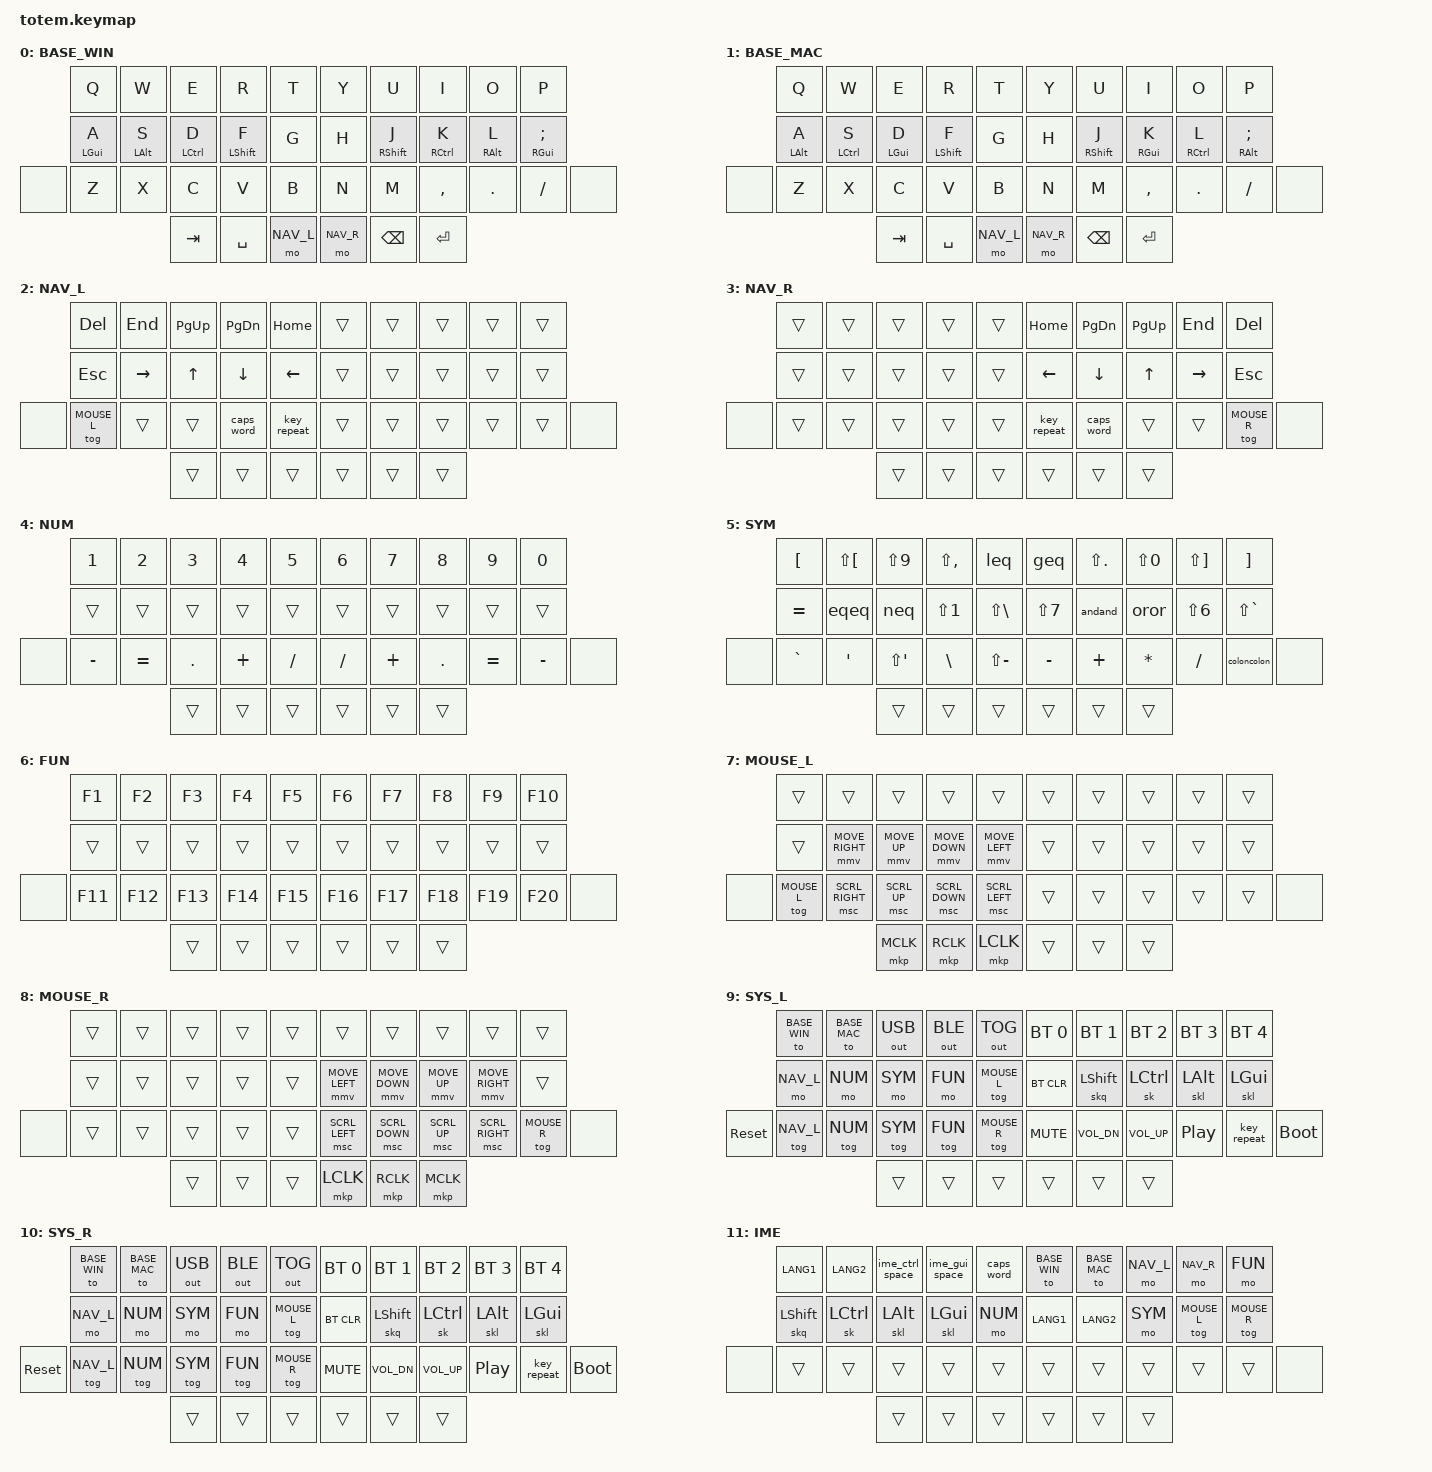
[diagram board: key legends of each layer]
#include <behaviors.dtsi>
#include <dt-bindings/zmk/bt.h>
#include <dt-bindings/zmk/keys.h>
#include <dt-bindings/zmk/outputs.h>
#include <dt-bindings/zmk/pointing.h>

#define BASE_WIN 0
#define BASE_MAC 1
#define NAV_L    2
#define NAV_R    3
#define NUM      4
#define SYM      5
#define FUN      6
#define MOUSE_L  7
#define MOUSE_R  8
#define SYS_L    9
#define SYS_R    10
#define IME      11

/ {
    behaviors {
        /*
         * Positional / bilateral home-row mods.
         *
         * Totem matrix positions from the existing file:
         *   left hand:  top 0-4,  home 10-14, bottom 21-25, thumbs 32-34
         *   right hand: top 5-9,  home 15-19, bottom 26-30, thumbs 35-37
         *
         * Ignored outer pinky keys are positions 20 and 31.
         */
        hml: home_row_mod_left {
            compatible = "zmk,behavior-hold-tap";
            #binding-cells = <2>;
            flavor = "balanced";
            tapping-term-ms = <280>;
            quick-tap-ms = <175>;
            require-prior-idle-ms = <150>;
            bindings = <&kp>, <&kp>;
            hold-trigger-key-positions = <5 6 7 8 9 15 16 17 18 19 26 27 28 29 30 35 36 37>;
            hold-trigger-on-release;
        };

        hmr: home_row_mod_right {
            compatible = "zmk,behavior-hold-tap";
            #binding-cells = <2>;
            flavor = "balanced";
            tapping-term-ms = <280>;
            quick-tap-ms = <175>;
            require-prior-idle-ms = <150>;
            bindings = <&kp>, <&kp>;
            hold-trigger-key-positions = <0 1 2 3 4 10 11 12 13 14 21 22 23 24 25 32 33 34>;
            hold-trigger-on-release;
        };

        /* Sticky Shift for one capital letter or one shifted symbol. */
        skq: sticky_key_quick {
            compatible = "zmk,behavior-sticky-key";
            #binding-cells = <1>;
            bindings = <&kp>;
            release-after-ms = <1500>;
            quick-release;
            ignore-modifiers;
        };

        /*
         * Lazy sticky modifiers are useful for GUI/Alt-style modifiers and
         * mouse interactions because the host does not see the modifier unless
         * a following key uses it.
         */
        skl: sticky_key_lazy {
            compatible = "zmk,behavior-sticky-key";
            #binding-cells = <1>;
            bindings = <&kp>;
            release-after-ms = <1500>;
            lazy;
            ignore-modifiers;
        };
    };

    macros {
        /*
         * IME fallback placeholders.
         * Prefer LANG1/LANG2 when the host supports them.
         */
        ime_ctrl_space: ime_ctrl_space {
            compatible = "zmk,behavior-macro";
            #binding-cells = <0>;
            bindings
                = <&macro_press &kp LCTRL>
                , <&macro_tap &kp SPACE>
                , <&macro_release &kp LCTRL>
                ;
        };

        ime_gui_space: ime_gui_space {
            compatible = "zmk,behavior-macro";
            #binding-cells = <0>;
            bindings
                = <&macro_press &kp LGUI>
                , <&macro_tap &kp SPACE>
                , <&macro_release &kp LGUI>
                ;
        };

        /*
         * Programming symbol macros.
         * These avoid duplicating symbols that NUM + Shift can already type.
         */
        eqeq: eqeq {
            compatible = "zmk,behavior-macro";
            #binding-cells = <0>;
            bindings
                = <&macro_tap &kp EQUAL>
                , <&macro_tap &kp EQUAL>
                ;
        };

        neq: neq {
            compatible = "zmk,behavior-macro";
            #binding-cells = <0>;
            bindings
                = <&macro_tap &kp LS(N1)>     /* ! */
                , <&macro_tap &kp EQUAL>
                ;
        };

        leq: leq {
            compatible = "zmk,behavior-macro";
            #binding-cells = <0>;
            bindings
                = <&macro_tap &kp LS(COMMA)>  /* < */
                , <&macro_tap &kp EQUAL>
                ;
        };

        geq: geq {
            compatible = "zmk,behavior-macro";
            #binding-cells = <0>;
            bindings
                = <&macro_tap &kp LS(DOT)>    /* > */
                , <&macro_tap &kp EQUAL>
                ;
        };

        andand: andand {
            compatible = "zmk,behavior-macro";
            #binding-cells = <0>;
            bindings
                = <&macro_tap &kp LS(N7)>     /* & */
                , <&macro_tap &kp LS(N7)>
                ;
        };

        oror: oror {
            compatible = "zmk,behavior-macro";
            #binding-cells = <0>;
            bindings
                = <&macro_tap &kp LS(BSLH)>   /* | */
                , <&macro_tap &kp LS(BSLH)>
                ;
        };

        arrow_r: arrow_r {
            compatible = "zmk,behavior-macro";
            #binding-cells = <0>;
            bindings
                = <&macro_tap &kp MINUS>
                , <&macro_tap &kp LS(DOT)>    /* > */
                ;
        };

        fat_arrow: fat_arrow {
            compatible = "zmk,behavior-macro";
            #binding-cells = <0>;
            bindings
                = <&macro_tap &kp EQUAL>
                , <&macro_tap &kp LS(DOT)>    /* > */
                ;
        };

        coloncolon: coloncolon {
            compatible = "zmk,behavior-macro";
            #binding-cells = <0>;
            bindings
                = <&macro_tap &kp LS(SEMI)>   /* : */
                , <&macro_tap &kp LS(SEMI)>
                ;
        };
    };

    combos {
        compatible = "zmk,combos";

        /*
         * Base same-hand punctuation combos.
         * No cross-half alpha combos.
         */

        combo_esc {
            timeout-ms = <35>;
            require-prior-idle-ms = <200>;
            key-positions = <0 1>;      /* Q + W */
            bindings = <&kp ESC>;
            layers = <BASE_WIN BASE_MAC>;
        };

        combo_ime_as {
            timeout-ms = <35>;
            require-prior-idle-ms = <200>;
            key-positions = <10 11>;    /* A + S */
            bindings = <&lt IME LANG1>; /* tap = 한/영, hold = IME layer */
            layers = <BASE_WIN BASE_MAC>;
        };

        combo_grave_zx {
            timeout-ms = <35>;
            require-prior-idle-ms = <200>;
            key-positions = <21 22>;    /* Z + X */
            bindings = <&kp GRAVE>;
            layers = <BASE_WIN BASE_MAC>;
        };

        combo_del {
            timeout-ms = <35>;
            require-prior-idle-ms = <200>;
            key-positions = <8 9>;      /* O + P */
            bindings = <&kp DEL>;
            layers = <BASE_WIN BASE_MAC>;
        };

        combo_squote {
            timeout-ms = <35>;
            require-prior-idle-ms = <200>;
            key-positions = <18 19>;    /* L + ;, below Del */
            bindings = <&kp SQT>;
            layers = <BASE_WIN BASE_MAC>;
        };

        combo_backslash {
            timeout-ms = <35>;
            require-prior-idle-ms = <200>;
            key-positions = <29 30>;    /* . + / */
            bindings = <&kp BSLH>;
            layers = <BASE_WIN BASE_MAC>;
        };

        /*
         * Optional sticky modifiers.
         * Keep these small at first. Delete if they misfire.
         */
        combo_sticky_shift_left {
            timeout-ms = <35>;
            require-prior-idle-ms = <200>;
            key-positions = <11 12>;    /* S + D */
            bindings = <&skq LSHFT>;
            layers = <BASE_WIN BASE_MAC>;
        };

        combo_sticky_shift_right {
            timeout-ms = <35>;
            require-prior-idle-ms = <200>;
            key-positions = <17 18>;    /* K + L */
            bindings = <&skq RSHFT>;
            layers = <BASE_WIN BASE_MAC>;
        };

        /*
         * Thumb-cluster layer combos.
         *
         * Physical thumb order:
         *   32 Tab | 33 Space | 34 NAV_L || 35 NAV_R | 36 Backspace | 37 Enter
         *
         * NUM/SYM/FUN stay cross-hand. SYS has left/right same-side combos.
         */
        combo_num_thumb {
            timeout-ms = <70>;
            require-prior-idle-ms = <200>;
            key-positions = <33 36>;    /* Space + Backspace */
            bindings = <&mo NUM>;
            layers = <BASE_WIN BASE_MAC>;
        };

        combo_sym_thumb {
            timeout-ms = <70>;
            require-prior-idle-ms = <200>;
            key-positions = <33 37>;    /* Space + Enter */
            bindings = <&mo SYM>;
            layers = <BASE_WIN BASE_MAC>;
        };

        combo_fun_thumb {
            timeout-ms = <70>;
            require-prior-idle-ms = <200>;
            key-positions = <32 37>;    /* Tab + Enter */
            bindings = <&mo FUN>;
            layers = <BASE_WIN BASE_MAC>;
        };

        combo_sys_l_thumb {
            timeout-ms = <70>;
            require-prior-idle-ms = <200>;
            key-positions = <32 34>;    /* Tab + NAV_L */
            bindings = <&mo SYS_L>;
            layers = <BASE_WIN BASE_MAC>;
        };

        combo_sys_r_thumb {
            timeout-ms = <70>;
            require-prior-idle-ms = <200>;
            key-positions = <35 37>;    /* NAV_R + Enter */
            bindings = <&mo SYS_R>;
            layers = <BASE_WIN BASE_MAC>;
        };

        /*
         * Mouse toggle:
         * arrow-layer thumb + same-hand index home-row key.
         */
        combo_mouse_l {
            timeout-ms = <60>;
            require-prior-idle-ms = <200>;
            key-positions = <13 34>;    /* F + NAV_L thumb */
            bindings = <&tog MOUSE_L>;
            layers = <BASE_WIN BASE_MAC NAV_L MOUSE_L>;
        };

        combo_mouse_r {
            timeout-ms = <60>;
            require-prior-idle-ms = <200>;
            key-positions = <16 35>;    /* J + NAV_R thumb */
            bindings = <&tog MOUSE_R>;
            layers = <BASE_WIN BASE_MAC NAV_R MOUSE_R>;
        };

        /*
         * Light-switch guard combos.
         * If these five keys are accidentally mashed together, emit nothing.
         *
         * Right side: J K L ; + NAV_R thumb.
         * Left mirror: A S D F + NAV_L thumb.
         */
        combo_guard_left {
            timeout-ms = <100>;
            require-prior-idle-ms = <200>;
            key-positions = <10 11 12 13 34>;  /* A S D F + NAV_L */
            bindings = <&none>;
            layers = <BASE_WIN BASE_MAC NAV_L>;
        };

        combo_guard_right {
            timeout-ms = <100>;
            require-prior-idle-ms = <200>;
            key-positions = <16 17 18 19 35>;  /* J K L ; + NAV_R */
            bindings = <&none>;
            layers = <BASE_WIN BASE_MAC NAV_R>;
        };
    };

    keymap {
        compatible = "zmk,keymap";

        /*
         * BASE_WIN: Windows/Linux base.
         *
         * Thumb order:
         *   Tab - Space - NAV_L - NAV_R - Backspace - Enter
         *
         * Home-row mods:
         *   left:  A=GUI, S=Alt, D=Ctrl, F=Shift
         *   right: J=Shift, K=Ctrl, L=Alt, ;=GUI
         */
        base_win {
            display-name = "BASE_WIN";
            bindings = <
        &kp Q        &kp W        &kp E          &kp R        &kp T          &kp Y        &kp U        &kp I        &kp O        &kp P
        &hml LGUI A  &hml LALT S  &hml LCTRL D   &hml LSHFT F &kp G          &kp H        &hmr RSHFT J &hmr RCTRL K &hmr RALT L  &hmr RGUI SEMI
&none   &kp Z        &kp X        &kp C          &kp V        &kp B          &kp N        &kp M        &kp COMMA    &kp DOT      &kp FSLH     &none
                                      &kp TAB      &kp SPACE    &mo NAV_L      &mo NAV_R    &kp BSPC     &kp ENTER
            >;
        };

        /*
         * BASE_MAC: macOS base.
         *
         * Command is GUI in HID terms.
         * Option is Alt in HID terms.
         *
         * Home-row mods:
         *   left:  A=Option, S=Control, D=Command, F=Shift
         *   right: J=Shift, K=Command, L=Control, ;=Option
         */
        base_mac {
            display-name = "BASE_MAC";
            bindings = <
        &kp Q        &kp W         &kp E        &kp R        &kp T          &kp Y        &kp U        &kp I       &kp O         &kp P
        &hml LALT A  &hml LCTRL S  &hml LGUI D  &hml LSHFT F &kp G          &kp H        &hmr RSHFT J &hmr RGUI K &hmr RCTRL L  &hmr RALT SEMI
&none   &kp Z        &kp X         &kp C        &kp V        &kp B          &kp N        &kp M        &kp COMMA   &kp DOT       &kp FSLH      &none
                                      &kp TAB     &kp SPACE    &mo NAV_L    &mo NAV_R    &kp BSPC     &kp ENTER
            >;
        };

        /*
         * NAV_L:
         * Left-hand mirrored navigation.
         * Right side stays transparent so right-hand HRMs can modify arrows.
         *
         * Pure mirror of right HJKL:
         *   S = Right, D = Up, F = Down, G = Left
         */
        nav_l {
            display-name = "NAV_L";
            bindings = <
        &kp DEL      &kp END       &kp PG_UP    &kp PG_DN    &kp HOME       &trans       &trans       &trans       &trans       &trans
        &kp ESC      &kp RIGHT     &kp UP       &kp DOWN     &kp LEFT       &trans       &trans       &trans       &trans       &trans
&none   &tog MOUSE_L &trans        &trans       &caps_word   &key_repeat    &trans       &trans       &trans       &trans       &trans      &none
                                      &trans      &trans       &trans        &trans       &trans       &trans
            >;
        };

        /*
         * NAV_R:
         * Right-hand HJKL navigation.
         * Left side stays transparent so left-hand HRMs can modify arrows.
         *
         *   H = Left, J = Down, K = Up, L = Right
         */
        nav_r {
            display-name = "NAV_R";
            bindings = <
        &trans      &trans      &trans      &trans      &trans        &kp HOME      &kp PG_DN    &kp PG_UP    &kp END      &kp DEL
        &trans      &trans      &trans      &trans      &trans        &kp LEFT      &kp DOWN     &kp UP       &kp RIGHT    &kp ESC
&none   &trans      &trans      &trans      &trans      &trans        &key_repeat   &caps_word   &trans       &trans       &tog MOUSE_R &none
                                    &trans   &trans      &trans       &trans        &trans       &trans
            >;
        };

        /*
         * NUM:
         * Number-row style.
         *
         * Top row:
         *   1 2 3 4 5 | 6 7 8 9 0
         *
         * Home row stays transparent so HRMs can produce:
         *   Ctrl/Cmd/Alt/Shift + number.
         */
        num {
            display-name = "NUM";
            bindings = <
        &kp N1       &kp N2       &kp N3       &kp N4       &kp N5         &kp N6       &kp N7       &kp N8       &kp N9       &kp N0
        &trans       &trans       &trans       &trans       &trans         &trans       &trans       &trans       &trans       &trans
&none   &kp MINUS    &kp EQUAL    &kp DOT      &kp PLUS     &kp FSLH       &kp FSLH     &kp PLUS     &kp DOT      &kp EQUAL    &kp MINUS   &none
                                    &trans      &trans       &trans        &trans       &trans       &trans
            >;
        };

        /*
         * SYM:
         * Programming-symbol layer with fewer duplicates against NUM + Shift.
         *
         * Top row:
         *   [ { ( < <= | >= > ) } ]
         *
         * Home row:
         *   = == != ! | | & && || ^ ~
         *
         * Bottom row:
         *   ` ' " \ _ | - + * / ::
         */
        sym {
            display-name = "SYM";
            bindings = <
        &kp LBKT     &kp LS(LBKT) &kp LS(N9)    &kp LS(COMMA) &leq           &geq         &kp LS(DOT)  &kp LS(N0)   &kp LS(RBKT) &kp RBKT
        &kp EQUAL    &eqeq        &neq          &kp LS(N1)    &kp LS(BSLH)   &kp LS(N7)   &andand      &oror        &kp LS(N6)   &kp LS(GRAVE)
&none   &kp GRAVE    &kp SQT      &kp LS(SQT)   &kp BSLH      &kp LS(MINUS)  &kp MINUS    &kp PLUS     &kp STAR     &kp FSLH     &coloncolon &none
                                      &trans      &trans        &trans        &trans       &trans       &trans
            >;
        };

        /*
         * FUN:
         * Function keys match NUM positions.
         *
         * Top row:
         *   F1 F2 F3 F4 F5 | F6 F7 F8 F9 F10
         *
         * Bottom row:
         *   F11-F20
         */
        fun {
            display-name = "FUN";
            bindings = <
        &kp F1       &kp F2       &kp F3       &kp F4       &kp F5         &kp F6       &kp F7       &kp F8       &kp F9       &kp F10
        &trans       &trans       &trans       &trans       &trans         &trans       &trans       &trans       &trans       &trans
&none   &kp F11      &kp F12      &kp F13      &kp F14      &kp F15        &kp F16      &kp F17      &kp F18      &kp F19      &kp F20     &none
                                    &trans      &trans       &trans        &trans       &trans       &trans
            >;
        };

        /*
         * MOUSE_L:
         * Left side moves and scrolls.
         * Left thumb cluster is mirrored:
         *   32 = Middle click, 33 = Right click, 34 = Left click
         */
        mouse_l {
            display-name = "MOUSE_L";
            bindings = <
        &trans       &trans          &trans          &trans           &trans          &trans      &trans      &trans      &trans      &trans
        &trans       &mmv MOVE_RIGHT &mmv MOVE_UP    &mmv MOVE_DOWN   &mmv MOVE_LEFT  &trans      &trans      &trans      &trans      &trans
&none   &tog MOUSE_L &msc SCRL_RIGHT &msc SCRL_UP    &msc SCRL_DOWN   &msc SCRL_LEFT  &trans      &trans      &trans      &trans      &trans      &none
                                      &mkp MCLK       &mkp RCLK        &mkp LCLK      &trans      &trans      &trans
            >;
        };

        /*
         * MOUSE_R:
         * Right side moves and scrolls.
         * Right thumb cluster:
         *   35 = Left click, 36 = Right click, 37 = Middle click
         *
         * H/J/K/L = Move Left/Down/Up/Right.
         * N/M/,/. = Scroll Left/Down/Up/Right.
         */
        mouse_r {
            display-name = "MOUSE_R";
            bindings = <
        &trans      &trans      &trans      &trans      &trans        &trans          &trans          &trans          &trans           &trans
        &trans      &trans      &trans      &trans      &trans        &mmv MOVE_LEFT  &mmv MOVE_DOWN  &mmv MOVE_UP    &mmv MOVE_RIGHT  &trans
&none   &trans      &trans      &trans      &trans      &trans        &msc SCRL_LEFT  &msc SCRL_DOWN  &msc SCRL_UP    &msc SCRL_RIGHT  &tog MOUSE_R &none
                                    &trans   &trans      &trans       &mkp LCLK       &mkp RCLK       &mkp MCLK
            >;
        };

        /*
         * SYS_L:
         * Access: Tab + NAV_L thumb combo.
         *
         * Bluetooth profile convention:
         *   BT0 = Windows
         *   BT1 = Linux
         *   BT2 = macOS
         *   BT3/BT4 = spare
         */
        sys_l {
            display-name = "SYS_L";
            bindings = <
        &to BASE_WIN &to BASE_MAC &out OUT_USB &out OUT_BLE &out OUT_TOG    &bt BT_SEL 0  &bt BT_SEL 1  &bt BT_SEL 2  &bt BT_SEL 3  &bt BT_SEL 4
        &mo NAV_L    &mo NUM      &mo SYM     &mo FUN      &tog MOUSE_L    &bt BT_CLR    &skq LSHFT     &sk LCTRL      &skl LALT      &skl LGUI
&sys_reset &tog NAV_L &tog NUM    &tog SYM    &tog FUN     &tog MOUSE_R    &kp C_MUTE    &kp C_VOL_DN   &kp C_VOL_UP   &kp C_PP       &key_repeat   &bootloader
                                      &trans    &trans      &trans         &trans        &trans         &trans
            >;
        };

        /*
         * SYS_R:
         * Access: NAV_R + Enter thumb combo.
         *
         * Same bindings as SYS_L for now so either hand can reach system
         * controls without a cross-hand combo.
         */
        sys_r {
            display-name = "SYS_R";
            bindings = <
        &to BASE_WIN &to BASE_MAC &out OUT_USB &out OUT_BLE &out OUT_TOG    &bt BT_SEL 0  &bt BT_SEL 1  &bt BT_SEL 2  &bt BT_SEL 3  &bt BT_SEL 4
        &mo NAV_L    &mo NUM      &mo SYM     &mo FUN      &tog MOUSE_L    &bt BT_CLR    &skq LSHFT     &sk LCTRL      &skl LALT      &skl LGUI
&sys_reset &tog NAV_L &tog NUM    &tog SYM    &tog FUN     &tog MOUSE_R    &kp C_MUTE    &kp C_VOL_DN   &kp C_VOL_UP   &kp C_PP       &key_repeat   &bootloader
                                      &trans    &trans      &trans         &trans        &trans         &trans
            >;
        };

        /*
         * IME:
         * Access:
         *   A + S tap  = LANG1 / 한영
         *   A + S hold = IME layer
         */
        ime {
            display-name = "IME";
            bindings = <
        &kp LANG1   &kp LANG2    &ime_ctrl_space &ime_gui_space &caps_word     &to BASE_WIN  &to BASE_MAC  &mo NAV_L    &mo NAV_R    &mo FUN
        &skq LSHFT  &sk LCTRL    &skl LALT       &skl LGUI      &mo NUM        &kp LANG1     &kp LANG2     &mo SYM      &tog MOUSE_L &tog MOUSE_R
&none   &trans      &trans       &trans          &trans         &trans         &trans        &trans        &trans       &trans       &trans      &none
                                  &trans          &trans         &trans         &trans        &trans        &trans
            >;
        };
    };
};
